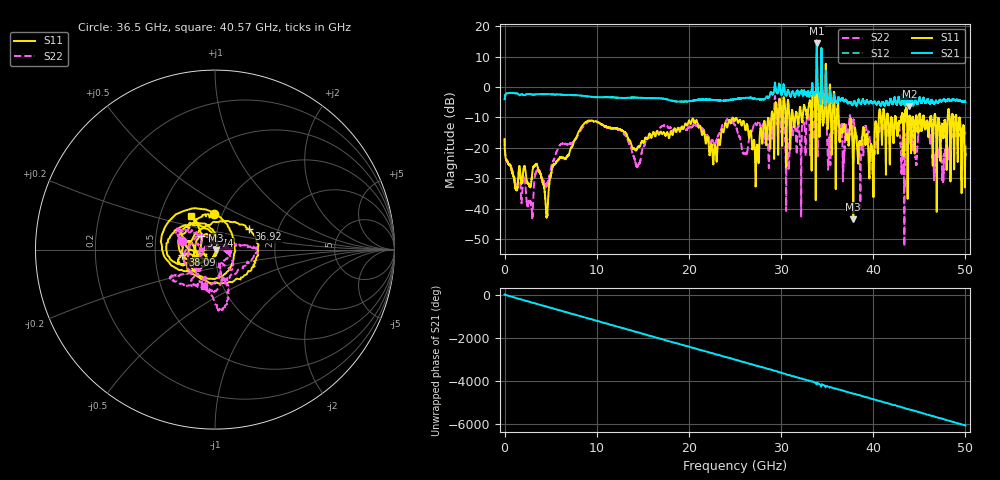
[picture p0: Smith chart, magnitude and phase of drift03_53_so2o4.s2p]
!Created with skrf (http://scikit-rf.org).
# Hz S RI R 50.0
!freq ReS11 ImS11 ReS21 ImS21 ReS12 ImS12 ReS22 ImS22
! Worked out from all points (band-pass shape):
!   10001 points, 300 kHz to 50 GHz, reference 50 ohm
!   highest |S21| = 14.37 dB at 33.88 GHz (marker M1); lowest = -6.2 dB at 43.92 GHz (marker M2)
!   |S21| within 3 dB of the highest: 33.86898 GHz to 33.88839 GHz (19.4 MHz wide, 0.0573 % of centre); 34.37692 GHz to 34.38898 GHz (12.06 MHz wide, 0.0351 % of centre)
!   lowest |S11| = -43.6 dB at 37.84 GHz (marker M3), VSWR 1.01, Z = 50.6 - j0.167 ohm
!   |S11| at or under -10 dB: start of sweep to 28.94 GHz; 36.27 GHz to 40.6 GHz (4.339 GHz wide, 11.3 % of centre); 46.75 GHz to 48.08 GHz (1.331 GHz wide, 2.81 % of centre) (the widest 3 of 62)
!   |S22| runs from -52.4 to 11.0 dB; largest |S21 - S12| = 0.81
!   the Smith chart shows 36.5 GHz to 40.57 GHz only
!   S11 on the Smith chart (normalised r, x): 36.5 GHz: 0.91, +0.38; 36.92 GHz: 1.42, +0.34; 38.09 GHz: 0.69, -0.04; 39.74 GHz: 0.84, +0.13; 40.57 GHz: 0.72, +0.28
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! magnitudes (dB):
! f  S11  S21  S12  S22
! 300 kHz  -17.2  -4.0  -4.1  -17.0
! 2.82 GHz  -32.7  -2.4  -2.4  -38.0
! 4.56 GHz  -43.0  -2.3  -2.3  -32.3
! 8.335 GHz  -13.1  -2.8  -2.8  -13.9
! 14.44 GHz  -19.9  -3.5  -3.5  -26.1
! 16.67 GHz  -15.4  -3.7  -3.7  -14.3
! 22.82 GHz  -19.4  -4.3  -4.3  -19.1
! 25 GHz  -10.9  -4.0  -4.0  -12.5
! 27.39 GHz  -19.3  -4.1  -4.1  -12.4
! 29.6 GHz  -10.5  -2.0  -2.1  -11.7
! 30.7 GHz  -5.7  -1.4  -1.5  -17.3
! 33.34 GHz  -13.8  -0.4  -0.4  -7.0
! 33.88 GHz  15.3  14.4  14.1  10.9
! 36.5 GHz  -14.0  -4.3  -4.3  -14.4
! 36.92 GHz  -13.2  -4.5  -4.5  -18.5
! 37.84 GHz  -43.6  -5.5  -5.5  -11.1
! 38.09 GHz  -14.7  -5.6  -5.6  -16.6
! 39.74 GHz  -19.1  -4.7  -4.6  -22.2
! 40.57 GHz  -12.8  -4.8  -4.9  -13.6
! 41.67 GHz  -12.1  -5.9  -5.9  -14.8
! 43.92 GHz  -9.8  -6.2  -6.1  -16.6
! 50 GHz  -19.6  -4.9  -4.9  -15.1
